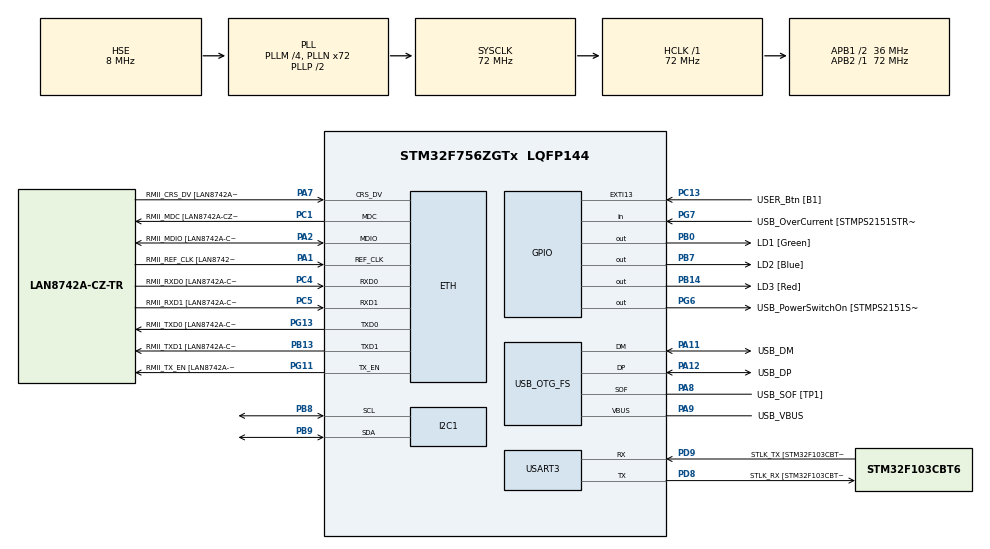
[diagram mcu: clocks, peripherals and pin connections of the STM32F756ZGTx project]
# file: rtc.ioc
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ETH.MediaInterface=HAL_ETH_RMII_MODE
ETH.PHY_Name=LAN8742A_PHY_ADDRESS
ETH.PHY_Value=0
ETH.PhyAddress=0
I2C1.Timing=0x00808CD2
Mcu.Family=STM32F7
Mcu.Name=STM32F756ZGTx
Mcu.Package=LQFP144
NVIC.PriorityGroup=NVIC_PRIORITYGROUP_4
NVIC.RTC_Alarm_IRQn=true\:0\:0\:false\:false\:true\:true\:true\:true
NVIC.RTC_WKUP_IRQn=true\:0\:0\:false\:false\:true\:true\:true\:true
PA1.GPIO_Label=RMII_REF_CLK [LAN8742A-CZ-TR_REFCLK0]
PA1.Mode=RMII
PA1.Signal=ETH_REF_CLK
PA10.GPIO_Label=USB_ID
PA10.Signal=USB_OTG_FS_ID
PA11.GPIO_Label=USB_DM
PA11.Mode=Device_Only
PA11.Signal=USB_OTG_FS_DM
PA12.GPIO_Label=USB_DP
PA12.Mode=Device_Only
PA12.Signal=USB_OTG_FS_DP
PA13.GPIO_Label=TMS
PA13.Mode=Serial_Wire
PA13.Signal=SYS_JTMS-SWDIO
PA14.GPIO_Label=TCK
PA14.Mode=Serial_Wire
PA14.Signal=SYS_JTCK-SWCLK
PA2.GPIO_Label=RMII_MDIO [LAN8742A-CZ-TR_MDIO]
PA2.Mode=RMII
PA2.Signal=ETH_MDIO
PA7.GPIO_Label=RMII_CRS_DV [LAN8742A-CZ-TR_CRS_DV]
PA7.Mode=RMII
PA7.Signal=ETH_CRS_DV
PA8.GPIO_Label=USB_SOF [TP1]
PA8.Mode=Activate_SOF_FS
PA8.Signal=USB_OTG_FS_SOF
PA9.GPIO_Label=USB_VBUS
PA9.Mode=Activate_VBUS
PA9.Signal=USB_OTG_FS_VBUS
PB0.GPIO_Label=LD1 [Green]
PB0.Signal=GPIO_Output
PB13.GPIO_Label=RMII_TXD1 [LAN8742A-CZ-TR_TXD1]
PB13.Mode=RMII
PB13.Signal=ETH_TXD1
PB14.GPIO_Label=LD3 [Red]
PB14.Signal=GPIO_Output
PB3.GPIO_Label=SW0
PB3.Signal=SYS_JTDO-SWO
PB7.GPIO_Label=LD2 [Blue]
PB7.Signal=GPIO_Output
PB8.Mode=I2C
PB8.Signal=I2C1_SCL
PB9.Mode=I2C
PB9.Signal=I2C1_SDA
PC1.GPIO_Label=RMII_MDC [LAN8742A-CZ-TR_MDC]
PC1.Mode=RMII
PC1.Signal=ETH_MDC
PC13.GPIO_Label=USER_Btn [B1]
PC13.Signal=GPXTI13
PC14/OSC32_IN.Mode=LSE-External-Oscillator
PC14/OSC32_IN.Signal=RCC_OSC32_IN
PC15/OSC32_OUT.Mode=LSE-External-Oscillator
PC15/OSC32_OUT.Signal=RCC_OSC32_OUT
PC4.GPIO_Label=RMII_RXD0 [LAN8742A-CZ-TR_RXD0]
PC4.Mode=RMII
PC4.Signal=ETH_RXD0
PC5.GPIO_Label=RMII_RXD1 [LAN8742A-CZ-TR_RXD1]
PC5.Mode=RMII
PC5.Signal=ETH_RXD1
PD8.GPIO_Label=STLK_RX [STM32F103CBT6_PA3]
PD8.Mode=Asynchronous
PD8.Signal=USART3_TX
PD9.GPIO_Label=STLK_TX [STM32F103CBT6_PA2]
PD9.Mode=Asynchronous
PD9.Signal=USART3_RX
PG11.GPIO_Label=RMII_TX_EN [LAN8742A-CZ-TR_TXEN]
PG11.Mode=RMII
PG11.Signal=ETH_TX_EN
PG13.GPIO_Label=RMII_TXD0 [LAN8742A-CZ-TR_TXD0]
PG13.Mode=RMII
PG13.Signal=ETH_TXD0
PG6.GPIO_Label=USB_PowerSwitchOn [STMPS2151STR_EN]
PG6.Signal=GPIO_Output
PG7.GPIO_Label=USB_OverCurrent [STMPS2151STR_FAULT]
PG7.Signal=GPIO_Input
PH0/OSC_IN.GPIO_Label=MCO [STM32F103CBT6_PA8]
PH0/OSC_IN.Mode=HSE-External-Clock-Source
PH0/OSC_IN.Signal=RCC_OSC_IN
PH1/OSC_OUT.Mode=HSE-External-Clock-Source
PH1/OSC_OUT.Signal=RCC_OSC_OUT
ProjectManager.HeapSize=0x200
ProjectManager.StackSize=0x400
ProjectManager.TargetToolchain=STM32CubeIDE
RCC.48MHZClocksFreq_Value=24000000
RCC.AHBFreq_Value=72000000
RCC.APB1CLKDivider=RCC_HCLK_DIV2
RCC.APB1Freq_Value=36000000
RCC.APB1TimFreq_Value=72000000
RCC.APB2Freq_Value=72000000
RCC.APB2TimFreq_Value=72000000
RCC.CortexFreq_Value=72000000
RCC.HCLKFreq_Value=72000000
RCC.HSE_VALUE=8000000
RCC.HSI_VALUE=16000000
RCC.PLLM=4
RCC.PLLMUL=RCC_PLL_MUL9
RCC.PLLN=72
RCC.PLLQ=3
RCC.PRESCALERUSB=RCC_USBCLKSOURCE_PLL_DIV1_5
RCC.SYSCLKFreq_VALUE=72000000
RCC.SYSCLKSource=RCC_SYSCLKSOURCE_PLLCLK
RCC.SYSCLKSourceVirtual=RCC_SYSCLKSOURCE_PLLCLK
RCC.USBFreq_Value=48000000
RCC.VCOOutputFreq_Value=144000000
RTC.Alarm-Alarm\ A=RTC_ALARM_A
RTC.WakeUpClock-WakeUp=RTC_WAKEUPCLOCK_RTCCLK_DIV16
USART3.VirtualMode-Asynchronous=VM_ASYNC
USB_OTG_FS.VirtualMode=Device_Only
VP_RTC_VS_RTC_Activate.Mode=RTC_Enabled
VP_RTC_VS_RTC_Alarm_A_Intern.Mode=Alarm A
VP_RTC_VS_RTC_Calendar.Mode=RTC_Calendar
VP_RTC_VS_RTC_WakeUp_intern.Mode=WakeUp
board=NUCLEO-F756ZG

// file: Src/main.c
/* USER CODE BEGIN Header */
/**
  ******************************************************************************
  * @file           : main.c
  * @brief          : Main program body
  ******************************************************************************
  * @attention
  *
  * Copyright (c) 2024 STMicroelectronics.
  * All rights reserved.
  *
  * This software is licensed under terms that can be found in the LICENSE file
  * in the root directory of this software component.
  * If no LICENSE file comes with this software, it is provided AS-IS.
  *
  ******************************************************************************
  */
/* USER CODE END Header */
#include "main.h"
#include "eth.h"
#include "i2c.h"
#include "rtc.h"
#include "usart.h"
#include "usb_otg.h"
#include "gpio.h"
#include <stdio.h>
#include <string.h>

void SystemClock_Config(void);
/* USER CODE BEGIN PFP */
RTC_TimeTypeDef sTime = {.Hours=7,.Minutes=13,.Seconds=0,.StoreOperation= RTC_STOREOPERATION_RESET,.DayLightSaving=RTC_DAYLIGHTSAVING_NONE};
/* USER CODE END PFP */
char kuts[50];

void SetCalendarAlarm(void);
void Enter_StopMode(void);
int main(void)
{

  /* MCU Configuration--------------------------------------------------------*/

  /* Reset of all peripherals, Initializes the Flash interface and the Systick. */
  HAL_Init();

  /* Configure the system clock */
  SystemClock_Config();

  /* Initialize all configured peripherals */
  MX_GPIO_Init();
  MX_ETH_Init();
  MX_USART3_UART_Init();
  MX_USB_OTG_FS_PCD_Init();
  MX_I2C1_Init();
  MX_RTC_Init();
	RTC_TimeTypeDef currentTime;
	HAL_RTC_GetTime(&hrtc, &currentTime, RTC_FORMAT_BIN);
	sprintf(kuts,"I've wake up biacz %d:%d:%d\n\r",currentTime.Hours,currentTime.Minutes,currentTime.Seconds);
	HAL_UART_Transmit(&huart3, (uint8_t*)kuts, strlen(kuts), 1000);

  /* Infinite loop */
  /* USER CODE BEGIN WHILE */
  while (1)
  {

	  HAL_GPIO_TogglePin(LD1_GPIO_Port, LD1_Pin);
	  Enter_StopMode();
	  HAL_UART_Transmit(&huart3, (uint8_t*)kuts, strlen(kuts), 1000);
	  HAL_GPIO_TogglePin(LD2_GPIO_Port, LD2_Pin);
    /* USER CODE END WHILE */

  }
}

void SystemClock_Config(void)
{
  RCC_OscInitTypeDef RCC_OscInitStruct = {0};
  RCC_ClkInitTypeDef RCC_ClkInitStruct = {0};

  /** Configure LSE Drive Capability
  */
  HAL_PWR_EnableBkUpAccess();

  /** Configure the main internal regulator output voltage
  */
  __HAL_RCC_PWR_CLK_ENABLE();
  __HAL_PWR_VOLTAGESCALING_CONFIG(PWR_REGULATOR_VOLTAGE_SCALE3);

  /** Initializes the RCC Oscillators according to the specified parameters
  * in the RCC_OscInitTypeDef structure.
  */
  RCC_OscInitStruct.OscillatorType = RCC_OSCILLATORTYPE_LSI|RCC_OSCILLATORTYPE_HSE;
  RCC_OscInitStruct.HSEState = RCC_HSE_BYPASS;
  RCC_OscInitStruct.LSIState = RCC_LSI_ON;
  RCC_OscInitStruct.PLL.PLLState = RCC_PLL_ON;
  RCC_OscInitStruct.PLL.PLLSource = RCC_PLLSOURCE_HSE;
  RCC_OscInitStruct.PLL.PLLM = 4;
  RCC_OscInitStruct.PLL.PLLN = 72;
  RCC_OscInitStruct.PLL.PLLP = RCC_PLLP_DIV2;
  RCC_OscInitStruct.PLL.PLLQ = 3;
  if (HAL_RCC_OscConfig(&RCC_OscInitStruct) != HAL_OK)
  {
    Error_Handler();
  }

  /** Initializes the CPU, AHB and APB buses clocks
  */
  RCC_ClkInitStruct.ClockType = RCC_CLOCKTYPE_HCLK|RCC_CLOCKTYPE_SYSCLK
                              |RCC_CLOCKTYPE_PCLK1|RCC_CLOCKTYPE_PCLK2;
  RCC_ClkInitStruct.SYSCLKSource = RCC_SYSCLKSOURCE_PLLCLK;
  RCC_ClkInitStruct.AHBCLKDivider = RCC_SYSCLK_DIV1;
  RCC_ClkInitStruct.APB1CLKDivider = RCC_HCLK_DIV2;
  RCC_ClkInitStruct.APB2CLKDivider = RCC_HCLK_DIV1;

  if (HAL_RCC_ClockConfig(&RCC_ClkInitStruct, FLASH_LATENCY_2) != HAL_OK)
  {
    Error_Handler();
  }
}

/* USER CODE BEGIN 4 */
void Enter_StopMode(void)
{

	EXTI_HandleTypeDef ee = {.Line = EXTI_LINE_17,.PendingCallback = NULL};
	HAL_EXTI_ClearPending(&ee,EXTI_TRIGGER_RISING);
	__HAL_RTC_ALARM_CLEAR_FLAG(&hrtc,RTC_FLAG_ALRAF);
	HAL_NVIC_ClearPendingIRQ(RTC_Alarm_IRQn);

	__HAL_GPIO_EXTI_CLEAR_IT(USER_Btn_Pin);
	HAL_NVIC_ClearPendingIRQ(EXTI15_10_IRQn);

	HAL_PWR_EnableSEVOnPend();
	SetCalendarAlarm();
	HAL_SuspendTick();
	memcpy(kuts,"",sizeof(kuts));

	HAL_PWR_EnterSTOPMode(PWR_LOWPOWERREGULATOR_UNDERDRIVE_ON, PWR_STOPENTRY_WFE);

	uint32_t e = HAL_NVIC_GetPendingIRQ(RTC_Alarm_IRQn) > HAL_NVIC_GetPendingIRQ(EXTI15_10_IRQn) ? 0x69 :0x70;

	if(e == 0x69){

		sprintf(kuts,"Waked from alarm\n\r");
	}
	else if(e==0x70){

		sprintf(kuts,"Waked from button\n\r");
	}

	HAL_ResumeTick();

	SystemClock_Config();
}

void SetCalendarAlarm(void)
{
	RTC_TimeTypeDef currentTime;
	HAL_RTC_GetTime(&hrtc, &currentTime, RTC_FORMAT_BIN);
	RTC_AlarmTypeDef sAlarm = {0};
	RTC_DateTypeDef currentDate;
	HAL_RTC_GetDate(&hrtc, &currentDate, RTC_FORMAT_BIN);
	sAlarm.AlarmTime.Hours = 0x0;
	sAlarm.AlarmTime.Minutes = currentTime.Minutes+10;
	sAlarm.AlarmTime.Seconds = 0x0;
	sAlarm.AlarmTime.SubSeconds = 0x0;
	sAlarm.AlarmTime.DayLightSaving = RTC_DAYLIGHTSAVING_NONE;
	sAlarm.AlarmTime.StoreOperation = RTC_STOREOPERATION_RESET;
	sAlarm.AlarmMask = RTC_ALARMMASK_NONE;
	sAlarm.AlarmSubSecondMask = RTC_ALARMSUBSECONDMASK_ALL;
	sAlarm.AlarmDateWeekDaySel = RTC_ALARMDATEWEEKDAYSEL_DATE;
	sAlarm.AlarmDateWeekDay = currentDate.Date;
	sAlarm.Alarm = RTC_ALARM_A;

	HAL_RTC_SetAlarm_IT(&hrtc, &sAlarm,RTC_FORMAT_BIN);

}

/* USER CODE END 4 */

void Error_Handler(void)
{
  __disable_irq();
  while (1)
  {
  }
}
